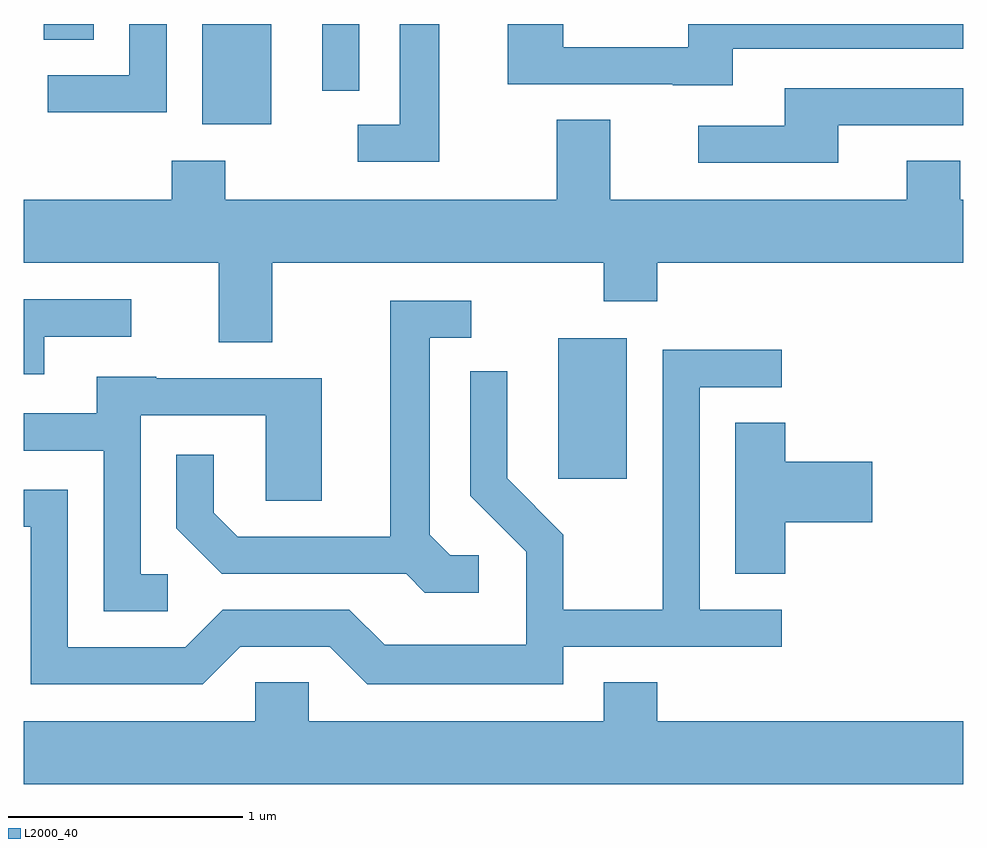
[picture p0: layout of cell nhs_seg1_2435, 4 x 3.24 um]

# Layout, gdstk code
import gdstk
lib = gdstk.Library(unit=1e-6, precision=1e-09)
def R(c, l, rs):  # rectangles x0, y0, x1, y1
    for r in rs: c.add(gdstk.rectangle(r[:2], r[2:], *l))
def P(c, l, *ps):  # polygons
    for p in ps: c.add(gdstk.Polygon(p, *l))
L2000_40 = (2000, 40)

nhs_seg1_2435 = lib.new_cell('nhs_seg1_2435')
R(nhs_seg1_2435, L2000_40, [(261.886,889.776,262.179,890.374), (260.371,891.286,260.664,891.712), (260.881,891.428,261.039,891.712), (259.696,891.646,259.909,891.712)])
P(nhs_seg1_2435, L2000_40, [(260.219,891.712),(260.061,891.712),(260.061,891.494),(259.712,891.494),(259.712,891.336),(260.219,891.336)],
  [(261.379,891.712),(261.211,891.712),(261.211,891.284),(261.033,891.284),(261.033,891.126),(261.379,891.126)],
  [(262.629,891.606),(263.611,891.606),(263.611,891.712),(262.441,891.712),(262.441,891.614),(261.909,891.614),(261.909,891.712),(261.671,891.712),(261.671,891.456),(262.375,891.456),(262.375,891.451),(262.629,891.451)],
  [(263.079,891.281),(263.611,891.281),(263.611,891.439),(262.851,891.439),(262.851,891.279),(262.483,891.279),(262.483,891.121),(263.079,891.121)],
  [(260.669,890.696),(262.081,890.696),(262.081,890.531),(262.309,890.531),(262.309,890.696),(263.611,890.696),(263.611,890.964),(263.599,890.964),(263.599,891.129),(263.371,891.129),(263.371,890.964),(262.109,890.964),(262.109,891.304),(261.881,891.304),(261.881,890.964),(260.469,890.964),(260.469,891.129),(260.241,891.129),(260.241,890.964),(259.611,890.964),(259.611,890.696),(260.441,890.696),(260.441,890.356),(260.669,890.356)],
  [(259.699,890.381),(260.068,890.381),(260.068,890.539),(259.611,890.539),(259.611,890.221),(259.699,890.221)],
  [(261.548,889.449),(261.427,889.449),(261.339,889.537),(261.339,890.376),(261.517,890.376),(261.517,890.534),(261.171,890.534),(261.171,889.529),(260.522,889.529),(260.419,889.632),(260.419,889.878),(260.261,889.878),(260.261,889.564),(260.454,889.371),(261.239,889.371),(261.319,889.291),(261.548,889.291)],
  [(260.532,889.061),(260.914,889.061),(261.074,888.901),(261.909,888.901),(261.909,889.061),(262.838,889.061),(262.838,889.219),(262.489,889.219),(262.489,890.166),(262.838,890.166),(262.838,890.324),(262.331,890.324),(262.331,889.219),(261.909,889.219),(261.909,889.537),(261.669,889.777),(261.669,890.233),(261.511,890.233),(261.511,889.704),(261.751,889.464),(261.751,889.069),(261.147,889.069),(260.997,889.219),(260.459,889.219),(260.299,889.059),(259.799,889.059),(259.799,889.729),(259.611,889.729),(259.611,889.571),(259.641,889.571),(259.641,888.901),(260.372,888.901)],
  [(260.223,889.369),(260.109,889.369),(260.109,890.046),(260.641,890.046),(260.641,889.681),(260.879,889.681),(260.879,890.204),(260.175,890.204),(260.175,890.209),(259.921,890.209),(259.921,890.054),(259.611,890.054),(259.611,889.896),(259.951,889.896),(259.951,889.211),(260.223,889.211)],
  [(262.854,889.591),(263.224,889.591),(263.224,889.849),(262.854,889.849),(262.854,890.014),(262.641,890.014),(262.641,889.371),(262.854,889.371)],
  [(263.611,888.744),(262.309,888.744),(262.309,888.909),(262.081,888.909),(262.081,888.744),(260.824,888.744),(260.824,888.909),(260.596,888.909),(260.596,888.744),(259.611,888.744),(259.611,888.476),(263.611,888.476)])

lib.write_gds('nhs_seg1_2435.gds')
